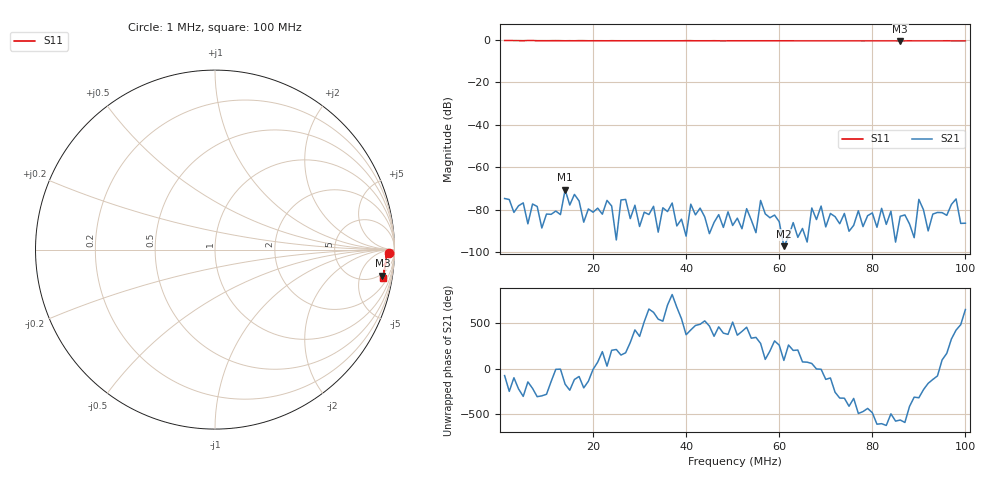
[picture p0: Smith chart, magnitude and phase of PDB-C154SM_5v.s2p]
# HZ S RI R 50
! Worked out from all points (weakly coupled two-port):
!   100 points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, 1 MHz to 100 MHz, reference 50 ohm
!   highest |S21| = -70.48 dB at 14 MHz (marker M1); lowest = -97.1 dB at 61 MHz (marker M2)
!   lowest |S11| = -0.5 dB at 86 MHz (marker M3), VSWR 34.83, Z = 211 - j566 ohm
!   |S11| at or under -10 dB: nowhere
!   S12 and S22 are empty: the file has one direction only
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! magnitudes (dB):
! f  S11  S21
! 1 MHz  -0.3  -74.6
! 3 MHz  -0.3  -81.2
! 13 MHz  -0.4  -82.2
! 14 MHz  -0.4  -70.5
! 15 MHz  -0.4  -77.7
! 16 MHz  -0.4  -72.7
! 18 MHz  -0.4  -85.8
! 25 MHz  -0.4  -94.1
! 27 MHz  -0.4  -75.0
! 28 MHz  -0.4  -84.1
! 34 MHz  -0.4  -90.5
! 51 MHz  -0.4  -83.9
! 56 MHz  -0.4  -75.5
! 61 MHz  -0.4  -97.1
! 67 MHz  -0.4  -79.1
! 84 MHz  -0.4  -80.6
! 86 MHz  -0.5  -83.0
! 90 MHz  -0.4  -75.0
! 91 MHz  -0.4  -80.0
! 96 MHz  -0.4  -82.5
! 98 MHz  -0.5  -74.8
! 100 MHz  -0.5  -86.2
